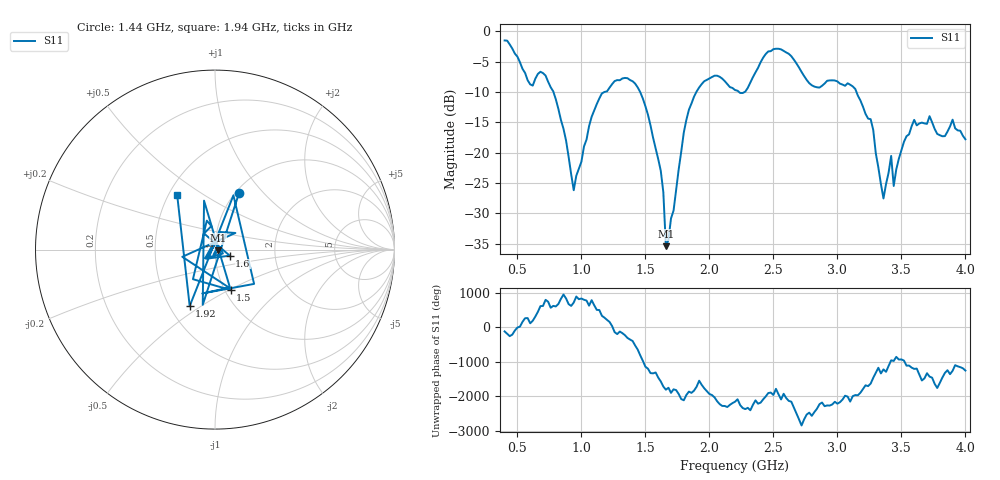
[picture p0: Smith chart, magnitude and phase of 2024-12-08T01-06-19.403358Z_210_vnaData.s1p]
!Created with skrf (http://scikit-rf.org).
# Hz S RI R 50.0
!freq ReS11 ImS11
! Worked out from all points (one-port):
!   181 points, 400 MHz to 4 GHz, reference 50 ohm
!   lowest |S11| = -35.4 dB at 1.66 GHz (marker M1), VSWR 1.03, Z = 51.7 - j0.436 ohm
!   |S11| at or under -10 dB: 781.7 MHz to 1.179 GHz (397.1 MHz wide, 40.5 % of centre); 1.459 GHz to 1.898 GHz (438.6 MHz wide, 26.1 % of centre); 3.149 GHz to end of sweep (the widest 3 of 4)
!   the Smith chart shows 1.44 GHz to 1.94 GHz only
!   S11 on the Smith chart (normalised r, x): 1.44 GHz: 1.04, +0.75; 1.5 GHz: 1.07, -0.51; 1.6 GHz: 1.18, -0.08; 1.92 GHz: 0.63, -0.45; 1.94 GHz: 0.56, +0.39
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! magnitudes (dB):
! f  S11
! 400 MHz  -1.5
! 600 MHz  -8.7
! 720 MHz  -7.3
! 860 MHz  -16.1
! 940 MHz  -26.2
! 1.12 GHz  -12.0
! 1.3 GHz  -8.1
! 1.44 GHz  -9.2
! 1.5 GHz  -12.3
! 1.6 GHz  -21.0
! 1.64 GHz  -26.5
! 1.66 GHz  -35.4
! 1.76 GHz  -22.8
! 1.82 GHz  -14.6
! 1.92 GHz  -9.2
! 1.94 GHz  -8.7
! 2.2 GHz  -9.7
! 2.46 GHz  -3.3
! 2.66 GHz  -4.7
! 2.82 GHz  -9.1
! 3.1 GHz  -8.8
! 3.26 GHz  -14.5
! 3.36 GHz  -27.5
! 3.42 GHz  -20.5
! 3.44 GHz  -25.5
! 3.56 GHz  -17.0
! 3.72 GHz  -14.0
! 4 GHz  -17.8
